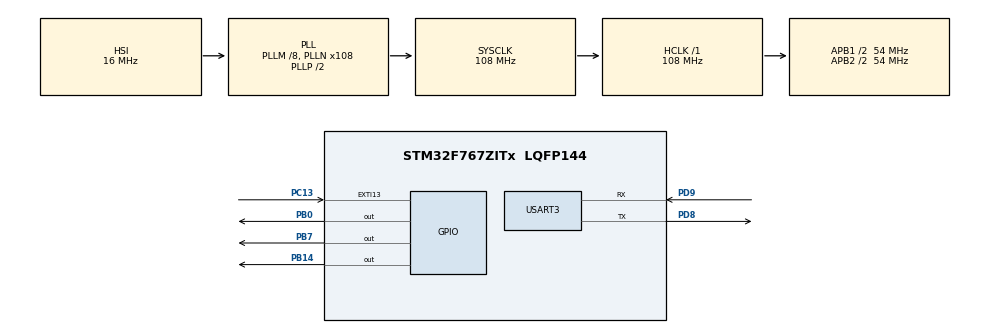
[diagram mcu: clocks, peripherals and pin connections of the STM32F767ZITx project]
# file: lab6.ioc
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Mcu.Family=STM32F7
Mcu.Name=STM32F767ZITx
Mcu.Package=LQFP144
NVIC.EXTI15_10_IRQn=true\:1\:0\:true\:false\:true\:true\:true
NVIC.PriorityGroup=NVIC_PRIORITYGROUP_2
NVIC.TIM1_UP_TIM10_IRQn=true\:1\:0\:true\:false\:true\:true\:true
NVIC.TIM2_IRQn=true\:2\:0\:true\:false\:true\:true\:true
PB0.Signal=GPIO_Output
PB14.Signal=GPIO_Output
PB7.Signal=GPIO_Output
PC13.Signal=GPXTI13
PD8.Mode=Asynchronous
PD8.Signal=USART3_TX
PD9.Mode=Asynchronous
PD9.Signal=USART3_RX
ProjectManager.HeapSize=0x200
ProjectManager.StackSize=0x400
ProjectManager.TargetToolchain=STM32CubeIDE
RCC.AHBFreq_Value=108000000
RCC.APB1CLKDivider=RCC_HCLK_DIV2
RCC.APB1Freq_Value=54000000
RCC.APB1TimFreq_Value=108000000
RCC.APB2CLKDivider=RCC_HCLK_DIV2
RCC.APB2Freq_Value=54000000
RCC.APB2TimFreq_Value=108000000
RCC.CortexFreq_Value=108000000
RCC.HCLKFreq_Value=108000000
RCC.HSE_VALUE=25000000
RCC.HSI_VALUE=16000000
RCC.LSE_VALUE=32768
RCC.PLLM=8
RCC.PLLN=108
RCC.SYSCLKFreq_VALUE=108000000
RCC.SYSCLKSource=RCC_SYSCLKSOURCE_PLLCLK
RCC.USBFreq_Value=108000000
RCC.VCOOutputFreq_Value=216000000
TIM1.Period=1000-1
TIM1.Prescaler=108-1
TIM2.Period=1000000-1
TIM2.Prescaler=108-1
USART3.VirtualMode-Asynchronous=VM_ASYNC
VP_TIM1_VS_ClockSourceINT.Mode=Internal
VP_TIM2_VS_ClockSourceINT.Mode=Internal
board=custom

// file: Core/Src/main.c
/* USER CODE BEGIN Header */
/**
  ******************************************************************************
  * @file           : main.c
  * @brief          : Main program body
  ******************************************************************************
  * @attention
  *
  * <h2><center>&copy; Copyright (c) 2021 STMicroelectronics.
  * All rights reserved.</center></h2>
  *
  * This software component is licensed by ST under BSD 3-Clause license,
  * the "License"; You may not use this file except in compliance with the
  * License. You may obtain a copy of the License at:
  *                        opensource.org/licenses/BSD-3-Clause
  *
  ******************************************************************************
  */
/* USER CODE END Header */
#include "main.h"
#include "tim.h"
#include "usart.h"
#include "gpio.h"

/* USER CODE BEGIN Includes */
#include "string.h"
/* USER CODE END Includes */

/* USER CODE BEGIN PV */
uint32_t count = 0;
uint32_t count2 = 0;
uint32_t count3 = 2999;
uint32_t t = 0;
uint32_t st = 1;
char num[] = " ";
char num1[] = " ";
/* USER CODE END PV */

void SystemClock_Config(void);

int main(void)
{

  /* MCU Configuration--------------------------------------------------------*/

  /* Reset of all peripherals, Initializes the Flash interface and the Systick. */
  HAL_Init();

  /* Configure the system clock */
  SystemClock_Config();

  /* Initialize all configured peripherals */
  MX_GPIO_Init();
  MX_TIM1_Init();
  MX_TIM2_Init();
  MX_USART3_UART_Init();
  /* USER CODE BEGIN 2 */
  HAL_TIM_Base_Start_IT (&htim1);
  HAL_TIM_Base_Start_IT (&htim2);
  /* USER CODE END 2 */

  /* Infinite loop */
  while (1)
  {

    /* USER CODE BEGIN 3 */
//	  HAL_Delay(400);
//	  displayNumber2(count);
	  while(st){

		  if(count2 == 1){
		  	displayNumber2(count);
		  	count2 = 0;
		   }
	  }

  }
  /* USER CODE END 3 */
}

void SystemClock_Config(void)
{
  RCC_OscInitTypeDef RCC_OscInitStruct = {0};
  RCC_ClkInitTypeDef RCC_ClkInitStruct = {0};
  RCC_PeriphCLKInitTypeDef PeriphClkInitStruct = {0};

  /** Configure the main internal regulator output voltage
  */
  __HAL_RCC_PWR_CLK_ENABLE();
  __HAL_PWR_VOLTAGESCALING_CONFIG(PWR_REGULATOR_VOLTAGE_SCALE3);
  /** Initializes the RCC Oscillators according to the specified parameters
  * in the RCC_OscInitTypeDef structure.
  */
  RCC_OscInitStruct.OscillatorType = RCC_OSCILLATORTYPE_HSI;
  RCC_OscInitStruct.HSIState = RCC_HSI_ON;
  RCC_OscInitStruct.HSICalibrationValue = RCC_HSICALIBRATION_DEFAULT;
  RCC_OscInitStruct.PLL.PLLState = RCC_PLL_ON;
  RCC_OscInitStruct.PLL.PLLSource = RCC_PLLSOURCE_HSI;
  RCC_OscInitStruct.PLL.PLLM = 8;
  RCC_OscInitStruct.PLL.PLLN = 108;
  RCC_OscInitStruct.PLL.PLLP = RCC_PLLP_DIV2;
  RCC_OscInitStruct.PLL.PLLQ = 2;
  RCC_OscInitStruct.PLL.PLLR = 2;
  if (HAL_RCC_OscConfig(&RCC_OscInitStruct) != HAL_OK)
  {
    Error_Handler();
  }
  /** Activate the Over-Drive mode
  */
  if (HAL_PWREx_EnableOverDrive() != HAL_OK)
  {
    Error_Handler();
  }
  /** Initializes the CPU, AHB and APB buses clocks
  */
  RCC_ClkInitStruct.ClockType = RCC_CLOCKTYPE_HCLK|RCC_CLOCKTYPE_SYSCLK
                              |RCC_CLOCKTYPE_PCLK1|RCC_CLOCKTYPE_PCLK2;
  RCC_ClkInitStruct.SYSCLKSource = RCC_SYSCLKSOURCE_PLLCLK;
  RCC_ClkInitStruct.AHBCLKDivider = RCC_SYSCLK_DIV1;
  RCC_ClkInitStruct.APB1CLKDivider = RCC_HCLK_DIV2;
  RCC_ClkInitStruct.APB2CLKDivider = RCC_HCLK_DIV2;

  if (HAL_RCC_ClockConfig(&RCC_ClkInitStruct, FLASH_LATENCY_3) != HAL_OK)
  {
    Error_Handler();
  }
  PeriphClkInitStruct.PeriphClockSelection = RCC_PERIPHCLK_USART3;
  PeriphClkInitStruct.Usart3ClockSelection = RCC_USART3CLKSOURCE_PCLK1;
  if (HAL_RCCEx_PeriphCLKConfig(&PeriphClkInitStruct) != HAL_OK)
  {
    Error_Handler();
  }
}

/* USER CODE BEGIN 4 */
void displayNumber(uint32_t x)
{
	sprintf(num,"%d",x);
	while(__HAL_UART_GET_FLAG(&huart3,UART_FLAG_TC)==RESET){}
	HAL_UART_Transmit(&huart3, (uint32_t*) "\n\r", 4,1000);
	HAL_UART_Transmit(&huart3, (uint32_t*)num,strlen(num),1000);

}
void displayNumber2(uint32_t x)
{
//	x = x/1000;
	count3 += 2;

//	if(x>59){
//		count = 0;
//		t++;
//		x = 0;}
	sprintf(num,"%d",count3);
//	sprintf(num,"%.2d",x);
//	sprintf(num1,"%.2d",t);
	while(__HAL_UART_GET_FLAG(&huart3,UART_FLAG_TC)==RESET){}
	HAL_UART_Transmit(&huart3, (uint32_t*) "\n\r", 4,1000);
	HAL_UART_Transmit(&huart3, (uint32_t*)num,strlen(num),1000);
	if(count3 == 3029){
			while(__HAL_UART_GET_FLAG(&huart3,UART_FLAG_TC)==RESET){}
				HAL_UART_Transmit(&huart3, (uint32_t*) "\n\r", 4,1000);
				HAL_UART_Transmit(&huart3, (uint32_t*)"stop",4,1000);
				st = 0;
		}
//	HAL_UART_Transmit(&huart3, (uint32_t*) ":", 1,1000);
//	HAL_UART_Transmit(&huart3, (uint32_t*)num,strlen(num),1000);

}
void HAL_GPIO_EXTI_Callback(uint16_t GPIO_Pin){
	if(GPIO_Pin == GPIO_PIN_13){
		HAL_Delay(1000);
		HAL_GPIO_WritePin(GPIOB, GPIO_PIN_0, 1);
		HAL_Delay(1000);
		HAL_GPIO_WritePin(GPIOB, GPIO_PIN_7, 1);
		HAL_Delay(1000);
		HAL_GPIO_WritePin(GPIOB, GPIO_PIN_7, 0);
		HAL_GPIO_WritePin(GPIOB, GPIO_PIN_0, 0);
	}

}
/* USER CODE END 4 */

void Error_Handler(void)
{
  __disable_irq();
  while (1)
  {
  }
}

/************************ (C) COPYRIGHT STMicroelectronics *****END OF FILE****/
